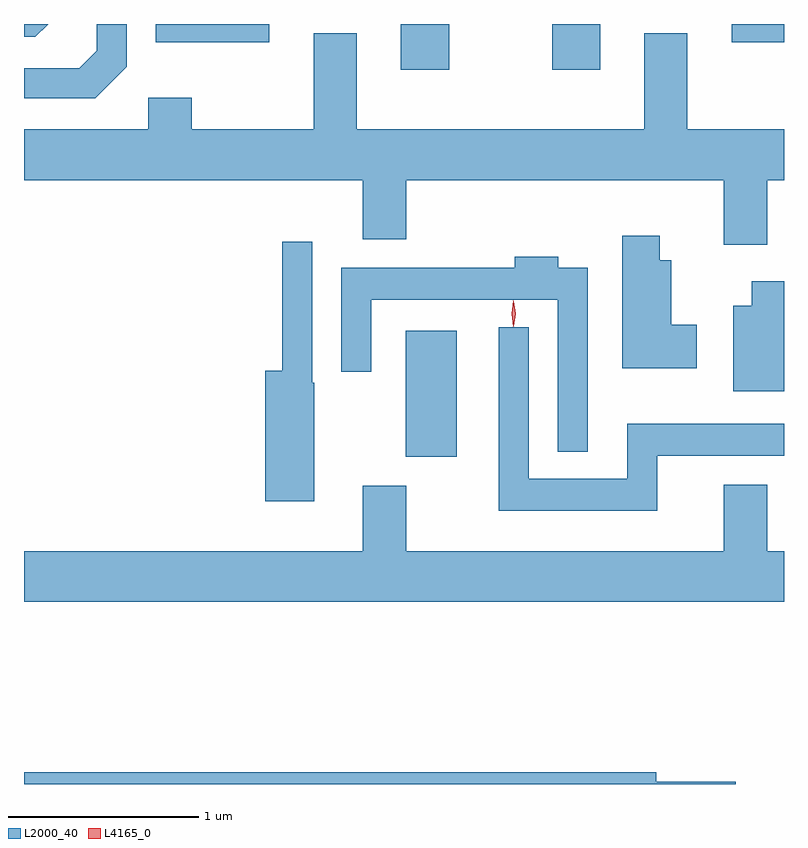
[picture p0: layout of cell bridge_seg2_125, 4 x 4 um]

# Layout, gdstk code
import gdstk
lib = gdstk.Library(unit=1e-6, precision=1e-09)
def R(c, l, rs):  # rectangles x0, y0, x1, y1
    for r in rs: c.add(gdstk.rectangle(r[:2], r[2:], *l))
def P(c, l, *ps):  # polygons
    for p in ps: c.add(gdstk.Polygon(p, *l))
L2000_40 = (2000, 40)
L4165_0 = (4165, 0)

bridge_seg2_125 = lib.new_cell('bridge_seg2_125')
R(bridge_seg2_125, L2000_40, [(1024.826,1111.241,1025.094,1111.904), (1024.801,1113.276,1025.054,1113.518), (1025.596,1113.276,1025.849,1113.518), (1023.511,1113.421,1024.109,1113.518), (1026.541,1113.421,1026.817,1113.518)])
P(bridge_seg2_125, L2000_40, [(1023.359,1113.294),(1023.359,1113.518),(1023.201,1113.518),(1023.201,1113.377),(1023.109,1113.284),(1022.817,1113.284),(1022.817,1113.126),(1023.192,1113.126)],
  [(1022.944,1113.518),(1022.817,1113.518),(1022.817,1113.451),(1022.877,1113.451)],
  [(1026.729,1112.696),(1026.817,1112.696),(1026.817,1112.964),(1026.309,1112.964),(1026.309,1113.469),(1026.081,1113.469),(1026.081,1112.964),(1024.569,1112.964),(1024.569,1113.469),(1024.341,1113.469),(1024.341,1112.964),(1023.699,1112.964),(1023.699,1113.129),(1023.471,1113.129),(1023.471,1112.964),(1022.817,1112.964),(1022.817,1112.696),(1024.601,1112.696),(1024.601,1112.386),(1024.829,1112.386),(1024.829,1112.696),(1026.501,1112.696),(1026.501,1112.356),(1026.729,1112.356)],
  [(1026.359,1111.934),(1026.224,1111.934),(1026.224,1112.274),(1026.164,1112.274),(1026.164,1112.404),(1025.966,1112.404),(1025.966,1111.706),(1026.359,1111.706)],
  [(1024.344,1111.63),(1024.334,1111.63),(1024.334,1112.373),(1024.176,1112.373),(1024.176,1111.694),(1024.086,1111.694),(1024.086,1111.006),(1024.344,1111.006)],
  [(1025.784,1112.234),(1025.629,1112.234),(1025.629,1112.294),(1025.401,1112.294),(1025.401,1112.234),(1024.486,1112.234),(1024.486,1111.688),(1024.644,1111.688),(1024.644,1112.066),(1025.626,1112.066),(1025.626,1111.268),(1025.784,1111.268)],
  [(1026.817,1112.164),(1026.646,1112.164),(1026.646,1112.034),(1026.551,1112.034),(1026.551,1111.586),(1026.817,1111.586)],
  [(1026.149,1111.246),(1026.817,1111.246),(1026.817,1111.414),(1025.991,1111.414),(1025.991,1111.124),(1025.474,1111.124),(1025.474,1111.923),(1025.316,1111.923),(1025.316,1110.956),(1026.149,1110.956)],
  [(1026.817,1110.744),(1026.729,1110.744),(1026.729,1111.094),(1026.501,1111.094),(1026.501,1110.744),(1024.829,1110.744),(1024.829,1111.089),(1024.601,1111.089),(1024.601,1110.744),(1022.817,1110.744),(1022.817,1110.476),(1026.817,1110.476)],
  [(1026.564,1109.529),(1026.144,1109.529),(1026.144,1109.579),(1022.817,1109.579),(1022.817,1109.518),(1026.564,1109.518)])
P(bridge_seg2_125, L4165_0, [(1025.394,1111.927),(1025.394,1111.927),(1025.384,1111.994),(1025.394,1112.06),(1025.394,1112.06),(1025.395,1112.06),(1025.404,1111.994),(1025.395,1111.927)],
  [(1025.392,1111.924),(1025.383,1111.993),(1025.392,1112.062),(1025.393,1112.063),(1025.393,1112.062),(1025.403,1111.993),(1025.393,1111.924),(1025.393,1111.924)])

lib.write_gds('bridge_seg2_125.gds')
